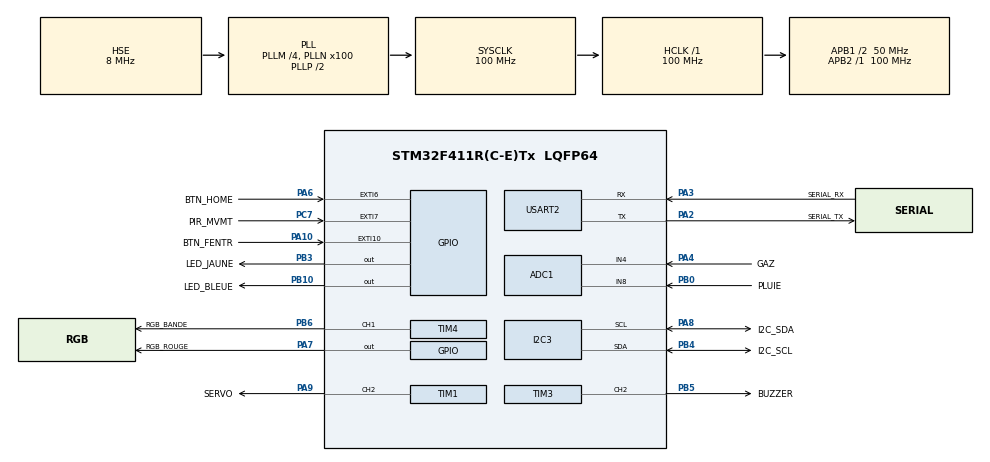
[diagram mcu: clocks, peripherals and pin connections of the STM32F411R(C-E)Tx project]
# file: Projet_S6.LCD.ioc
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ADC1.Channel-0\#ChannelRegularConversion=ADC_CHANNEL_4
ADC1.Channel-1\#ChannelRegularConversion=ADC_CHANNEL_8
ADC1.DMAContinuousRequests=ENABLE
ADC1.ExternalTrigConv=ADC_EXTERNALTRIGCONV_T2_TRGO
ADC1.NbrOfConversion=2
ADC1.NbrOfConversionFlag=1
ADC1.Rank-0\#ChannelRegularConversion=1
ADC1.Rank-1\#ChannelRegularConversion=2
ADC1.SamplingTime-0\#ChannelRegularConversion=ADC_SAMPLETIME_3CYCLES
ADC1.SamplingTime-1\#ChannelRegularConversion=ADC_SAMPLETIME_3CYCLES
ADC1.ScanConvMode=ENABLE
ADC1.master=1
Dma.ADC1.0.Direction=DMA_PERIPH_TO_MEMORY
Dma.ADC1.0.FIFOMode=DMA_FIFOMODE_DISABLE
Dma.ADC1.0.Instance=DMA2_Stream0
Dma.ADC1.0.MemDataAlignment=DMA_MDATAALIGN_HALFWORD
Dma.ADC1.0.MemInc=DMA_MINC_ENABLE
Dma.ADC1.0.Mode=DMA_CIRCULAR
Dma.ADC1.0.PeriphDataAlignment=DMA_PDATAALIGN_HALFWORD
Dma.ADC1.0.PeriphInc=DMA_PINC_DISABLE
Dma.ADC1.0.Priority=DMA_PRIORITY_LOW
Dma.Request0=ADC1
Dma.Request1=TIM4_CH1
Dma.TIM4_CH1.1.Direction=DMA_MEMORY_TO_PERIPH
Dma.TIM4_CH1.1.FIFOMode=DMA_FIFOMODE_DISABLE
Dma.TIM4_CH1.1.Instance=DMA1_Stream0
Dma.TIM4_CH1.1.MemDataAlignment=DMA_MDATAALIGN_WORD
Dma.TIM4_CH1.1.MemInc=DMA_MINC_ENABLE
Dma.TIM4_CH1.1.Mode=DMA_NORMAL
Dma.TIM4_CH1.1.PeriphDataAlignment=DMA_PDATAALIGN_WORD
Dma.TIM4_CH1.1.PeriphInc=DMA_PINC_DISABLE
Dma.TIM4_CH1.1.Priority=DMA_PRIORITY_LOW
Mcu.Family=STM32F4
Mcu.Name=STM32F411R(C-E)Tx
Mcu.Package=LQFP64
NVIC.ADC_IRQn=true\:0\:0\:false\:false\:true\:true\:true\:true
NVIC.DMA1_Stream0_IRQn=true\:0\:0\:false\:false\:true\:false\:true\:true
NVIC.DMA2_Stream0_IRQn=true\:0\:0\:false\:false\:true\:false\:true\:true
NVIC.EXTI15_10_IRQn=true\:0\:0\:false\:false\:true\:true\:true\:true
NVIC.EXTI9_5_IRQn=true\:0\:0\:false\:false\:true\:true\:true\:true
NVIC.PriorityGroup=NVIC_PRIORITYGROUP_4
NVIC.TIM2_IRQn=true\:0\:0\:false\:false\:true\:true\:true\:true
NVIC.TIM5_IRQn=true\:0\:0\:false\:false\:true\:true\:true\:true
PA10.GPIO_Label=BTN_FENTR
PA10.GPIO_ModeDefaultEXTI=GPIO_MODE_IT_FALLING
PA10.GPIO_PuPd=GPIO_PULLUP
PA10.Signal=GPXTI10
PA13.Mode=Serial_Wire
PA13.Signal=SYS_JTMS-SWDIO
PA14.Mode=Serial_Wire
PA14.Signal=SYS_JTCK-SWCLK
PA2.GPIO_Label=SERIAL_TX
PA2.Mode=Asynchronous
PA2.Signal=USART2_TX
PA3.GPIO_Label=SERIAL_RX
PA3.Mode=Asynchronous
PA3.Signal=USART2_RX
PA4.GPIO_Label=GAZ
PA4.Signal=ADCx_IN4
PA6.GPIO_Label=BTN_HOME
PA6.GPIO_ModeDefaultEXTI=GPIO_MODE_IT_FALLING
PA6.GPIO_PuPd=GPIO_PULLUP
PA6.Signal=GPXTI6
PA7.GPIO_Label=RGB_ROUGE
PA7.GPIO_PuPd=GPIO_NOPULL
PA7.Signal=GPIO_Output
PA8.GPIO_Label=I2C_SDA
PA8.Mode=I2C
PA8.Signal=I2C3_SCL
PA9.GPIO_Label=SERVO
PA9.Signal=S_TIM1_CH2
PB0.GPIO_Label=PLUIE
PB0.Signal=ADCx_IN8
PB10.GPIO_Label=LED_BLEUE
PB10.Signal=GPIO_Output
PB3.GPIO_Label=LED_JAUNE
PB3.GPIO_PuPd=GPIO_NOPULL
PB3.Signal=GPIO_Output
PB4.GPIO_Label=I2C_SCL
PB4.Mode=I2C
PB4.Signal=I2C3_SDA
PB5.GPIO_Label=BUZZER
PB5.Signal=S_TIM3_CH2
PB6.GPIO_Label=RGB_BANDE
PB6.Signal=S_TIM4_CH1
PC7.GPIO_Label=PIR_MVMT
PC7.GPIO_ModeDefaultEXTI=GPIO_MODE_IT_RISING
PC7.GPIO_PuPd=GPIO_PULLDOWN
PC7.Signal=GPXTI7
PH0\ -\ OSC_IN.Mode=HSE-External-Oscillator
PH0\ -\ OSC_IN.Signal=RCC_OSC_IN
PH1\ -\ OSC_OUT.Mode=HSE-External-Oscillator
PH1\ -\ OSC_OUT.Signal=RCC_OSC_OUT
ProjectManager.HeapSize=0x200
ProjectManager.StackSize=0x400
ProjectManager.TargetToolchain=STM32CubeIDE
RCC.48MHZClocksFreq_Value=50000000
RCC.AHBFreq_Value=100000000
RCC.APB1CLKDivider=RCC_HCLK_DIV2
RCC.APB1Freq_Value=50000000
RCC.APB1TimFreq_Value=100000000
RCC.APB2Freq_Value=100000000
RCC.APB2TimFreq_Value=100000000
RCC.CortexFreq_Value=100000000
RCC.HCLKFreq_Value=100000000
RCC.HSE_VALUE=8000000
RCC.HSI_VALUE=16000000
RCC.LSE_VALUE=32768
RCC.PLLM=4
RCC.PLLN=100
RCC.PLLSourceVirtual=RCC_PLLSOURCE_HSE
RCC.SYSCLKFreq_VALUE=100000000
RCC.SYSCLKSource=RCC_SYSCLKSOURCE_PLLCLK
RCC.VCOOutputFreq_Value=200000000
SH.ADCx_IN4.0=ADC1_IN4,IN4
SH.ADCx_IN8.0=ADC1_IN8,IN8
SH.S_TIM1_CH2.0=TIM1_CH2,PWM Generation2 CH2
SH.S_TIM3_CH2.0=TIM3_CH2,PWM Generation2 CH2
SH.S_TIM4_CH1.0=TIM4_CH1,PWM Generation1 CH1
TIM1.Channel-PWM\ Generation2\ CH2=TIM_CHANNEL_2
TIM1.Period=50000-1
TIM1.Prescaler=40-1
TIM1.Pulse-PWM\ Generation2\ CH2=3750
TIM2.Period=20000-1
TIM2.Prescaler=10000-1
TIM2.TIM_MasterOutputTrigger=TIM_TRGO_UPDATE
TIM3.Channel-PWM\ Generation2\ CH2=TIM_CHANNEL_2
TIM3.OCMode_PWM-PWM\ Generation2\ CH2=TIM_OCMODE_PWM1
TIM3.Period=56818-1
TIM3.Prescaler=4-1
TIM3.Pulse-PWM\ Generation2\ CH2=28409
TIM4.Channel-PWM\ Generation1\ CH1=TIM_CHANNEL_1
TIM4.Period=125-1
TIM5.Period=500-1
TIM5.Prescaler=10000-1
USART2.VirtualMode=VM_ASYNC
VP_TIM1_VS_ClockSourceINT.Mode=Internal
VP_TIM2_VS_ClockSourceINT.Mode=Internal
VP_TIM3_VS_ClockSourceINT.Mode=Internal
VP_TIM4_VS_ClockSourceINT.Mode=Internal
VP_TIM5_VS_ClockSourceINT.Mode=Internal
board=custom

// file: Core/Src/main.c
/* USER CODE BEGIN Header */
/**
  ******************************************************************************
  * @file           : main.c
  * @brief          : Main program body
  ******************************************************************************
  * @attention
  *
  * Copyright (c) 2026 STMicroelectronics.
  * All rights reserved.
  *
  * This software is licensed under terms that can be found in the LICENSE file
  * in the root directory of this software component.
  * If no LICENSE file comes with this software, it is provided AS-IS.
  *
  ******************************************************************************
  */
/* USER CODE END Header */
#include "main.h"
#include "adc.h"
#include "dma.h"
#include "i2c.h"
#include "tim.h"
#include "usart.h"
#include "gpio.h"

/* USER CODE BEGIN Includes */
#include <stdio.h>
#include "stdbool.h"
#include "tmp102.h"
#include "i2c-lcd.h"
#include "bande-led.h"
/* USER CODE END Includes */

/* USER CODE BEGIN PTD */

/**
 * @brief Structure d'encapsulation pour la gestion unifiée d'une LED matérielle.
 *        // cf rapport : 4.3. Structure pour les LEDs
 */
typedef struct {
    GPIO_TypeDef *port;   /**< Pointeur vers le port GPIO (ex: GPIOA, GPIOB) */
    uint16_t pin;         /**< Numéro de broche GPIO (ex: GPIO_PIN_10) */
    bool state;           /**< État logique souhaité (true: allumée, false: éteinte) */
} LED_t;

/**
 * @brief Modes de fonctionnement et de surveillance globale de la maison.
 *        // cf rapport : 6.3. Machine à états HOME / AWAY
 */
typedef enum {
  HOME,                   /**< Mode Présent : alarme intrusion désactivée, contrôle manuel fenêtre actif */
  AWAY                    /**< Mode Absent  : surveillance intrusion armée, fenêtre fermée et verrouillée */
} maison_mode_t;

/**
 * @brief États discrets de la fenêtre motorisée par servomoteur.
 *        // cf rapport : 9.2. Gestion de la fenêtre (États de la fenêtre)
 */
typedef enum {
  INIT,                   /**< État initial au démarrage avant positionnement */
  FERMEE,                 /**< Fenêtre fermée (servomoteur à 0°) */
  OUVERTE                 /**< Fenêtre ouverte (servomoteur à 120°) */
} fenetre_t;

/**
 * @brief Plages de confort thermique pour la régulation automatique de la fenêtre.
 *        // cf rapport : 10.11. Seuils et états de température
 */
typedef enum {
  FROID,                  /**< Température <= 24°C : force la fermeture de la fenêtre */
  CHAUD,                  /**< Température >= 26°C : déclenche l'aération de la fenêtre */
  TEMPEREE                /**< Zone de confort (24°C - 26°C) formant une hystérésis naturelle */
} temperature_t;

/* USER CODE END PTD */

/* USER CODE BEGIN PD */

// ==============================================================================
// Brochage matériel Arduino Header (NUCLEO-F411RE)
// cf rapport : 3.1. Branchement des composants (Tableau de brochage final)
// ==============================================================================
//  BTN_FENTR | D2  | PA_10 | EXTI 10 - Falling Edge | PULLUP   | 3V3
//  LED_JAUNE | D3  | PB_3  | GPIO OUTPUT            | NO       | 3V3 (Shield)
//  BUZZER    | D4  | PB_5  | TIMER 3 - CHANNEL 2    | NO       | 3V3 (Passif PWM)
//  I2C_SDA   | D5  | PB_4  | I2C3 - SDA             | NO       | LCD + TMP102 (5V pullup)
//  LED_BLEUE | D6  | PB_10 | GPIO OUTPUT            | NO       | 3V3 (Cycle capteurs)
//  I2C_SCL   | D7  | PA_8  | I2C3 - SCL             | NO       | LCD + TMP102 (5V pullup)
//  SERVO     | D8  | PA_9  | TIMER 1 - CHANNEL 2    | NO       | 5V (PWM 50 Hz)
//  PIR_MVMT  | D9  | PC_7  | EXTI 7 - Rising Edge   | PULLDOWN | 3V3 (Détecteur mouvement)
//  RGB_BANDE | D10 | PB_6  | TIMER 4 - CHANNEL 1    | NO       | 5V (WS2812B PWM + DMA)
//  RGB_ROUGE | D11 | PA_7  | GPIO OUTPUT            | NO       | 3V3 (Alarme gaz Shield)
//  BTN_HOME  | D12 | PA_6  | EXTI 6 - Falling Edge  | PULLUP   | 3V3 (Bouton mode)
//  GAZ       | A2  | PA_4  | ADC 1 - CHANNEL 4      | NO       | 5V (Capteur MQ-2)
//  PLUIE     | A3  | PB_0  | ADC 1 - CHANNEL 8      | NO       | 5V (Capteur résistif)

// ==============================================================================
// Abstraction matérielle (évite le hardcoding des handles HAL)
// cf rapport : 4.2. Define matériels
// ==============================================================================
#define ADC_CAPTEURS    (&hadc1)    /**< Instance ADC1 pour mesures gaz et pluie */
#define BUS_I2C         (&hi2c3)    /**< Bus I2C3 partagé (TMP102 + Afficheur LCD) */
#define TIMER_CAPTEURS  (&htim2)    /**< TIM2 : base temporelle échantillonnage (2 s) */
#define TIMER_DEBOUNCE  (&htim5)    /**< TIM5 : base temporelle anti-rebond & alarmes (50 ms) */
#define TIMER_SERVO     (&htim1)    /**< TIM1 : génération PWM 50 Hz pour servomoteur */
#define CANAL_SERVO     TIM_CHANNEL_2 /**< Canal 2 de TIM1 (broche PA9 / D8) */
#define TIMER_BUZZER    (&htim3)    /**< TIM3 : génération PWM audio pour buzzer passif */
#define CANAL_BUZZER    TIM_CHANNEL_2 /**< Canal 2 de TIM3 (broche PB5 / D4) */
#define TIMER_BANDE_LED (&htim4)    /**< TIM4 : génération PWM 800 kHz DMA WS2812B */
#define CANAL_BANDE_LED TIM_CHANNEL_1 /**< Canal 1 de TIM4 (broche PB6 / D10) */

// ==============================================================================
// Seuils de décision et configuration ADC
// cf rapport : 7.3 (Gaz), 9.4 (Pluie), 10.11 (Température)
// ==============================================================================
#define SEUIL_GAZ         2500      /**< Seuil détection gaz MQ-2 (0-4095) // cf rapport : 7.3 */
#define SEUIL_PLUIE       4000      /**< Seuil détection eau/pluie (0-4095) // cf rapport : 9.4 */
#define SEUIL_CHALEUR     26        /**< Seuil haut de température en °C // cf rapport : 10.11 */
#define SEUIL_FROID       24        /**< Seuil bas de température en °C // cf rapport : 10.11 */
#define NBR_CAPTEURS_ADC  2         /**< Nombre de canaux convertis en séquence Scan */
#define GAZ_ADC_RANK      0         /**< Index Rank 1 dans buffer DMA : Capteur MQ-2 */
#define PLUIE_ADC_RANK    1         /**< Index Rank 2 dans buffer DMA : Capteur pluie */

// ==============================================================================
// Fréquences d'échantillonnage et bases temporelles
// cf rapport : 5.1 (Timer 2), 6.2 (Timer 5)
// ==============================================================================
#define FREQ_CYCLE_CAPTEURS   0.5   /**< Fréquence d'échantillonnage (0.5 Hz => Période = 2 s) */
#define FREQ_CYCLE_DEBOUNCE   20    /**< Fréquence de scrutation anti-rebond (20 Hz => 50 ms) */

// ==============================================================================
// Paramètres PWM Servomoteur (Timer 1)
// cf rapport : 9.1. Commande du servomoteur
// ==============================================================================
#define FREQ_TIMER_SERVO  2500000   /**< Fréquence de comptage TIM1 (2.5 MHz => 0.4 µs/tic) */
#define FREQ_CYCLE_SERVO  50        /**< Fréquence PWM servomoteur standard (50 Hz => 20 ms) */
#define SERVO_0_DEG_MS    0.5       /**< Largeur d'impulsion à 0° (0.5 ms => 1250 tics) */
#define SERVO_180_DEG_MS  2.5       /**< Largeur d'impulsion à 180° (2.5 ms => 6250 tics) */

// ==============================================================================
// Paramètres Audio et Alarmes (Timer 3 & Timer 5)
// cf rapport : 13. Bonus — Gestion globale des alarmes
// ==============================================================================
#define FREQ_TIMER_BUZZER             25000000 /**< Fréquence d'horloge TIM3 (25 MHz) */
#define FREQ_TIMER_BANDE_LED          100000000/**< Fréquence d'horloge TIM4 (100 MHz) */
#define FREQ_CYCLE_ALARME             FREQ_CYCLE_DEBOUNCE /**< Base de comptage alarme (20 Hz) */
#define FREQ_BLINK_ALARME_GAZ         10       /**< Fréquence clignotement alarme gaz (10 Hz) */
#define FREQ_BLINK_ALARME_INTRUSION   2        /**< Fréquence clignotement alarme intrusion (2 Hz) */
#define FREQ_BUZZER_ALARME_GAZ        440      /**< Fréquence note alarme gaz (La4 / 440 Hz) */
#define FREQ_BUZZER_ALARME_INTRUSION  384      /**< Fréquence note alarme intrusion (384 Hz) */

// ==============================================================================
// Tableau de bord NeoPixel WS2812B (Timer 4 + DMA)
// cf rapport : 12. Bonus — Bibliothèque Bande LED RGB (WS2812B)
// ==============================================================================
#define NB_LEDS_BANDE_RGB 4         /**< Nombre total de LEDs sur le bandeau */
#define LED_BAS_DROITE    0         /**< Index LED 0 : Alarme intrusion (orange) */
#define LED_HAUT_DROITE   1         /**< Index LED 1 : Alarme gaz (rouge) */
#define LED_HAUT_GAUCHE   2         /**< Index LED 2 : Témoin cycle capteurs (violet) */
#define LED_BAS_GAUCHE    3         /**< Index LED 3 : Indicateur température (Bleu/Vert/Orange) */
#define LUMINOSITE_BASE   10        /**< Luminosité réduite (0-255) anti-éblouissement */

// --- Nuancier hexadécimal pour le tableau de bord ---
#define COULEUR_CAPTEURS         BL_HEXA_VIOLET /**< Violet : pulsation cycle capteurs */
#define COULEUR_ALARME_GAZ       BL_HEXA_ROUGE  /**< Rouge : alerte fuite de gaz */
#define COULEUR_ALARME_INTRUSION BL_HEXA_ORANGE /**< Orange : alerte détection intrusion */
#define COULEUR_TEMP_FROID       BL_HEXA_BLEU   /**< Bleu : ambiance froide (< 24°C) */
#define COULEUR_TEMP_TEMPERE     BL_HEXA_VERT   /**< Vert : confort tempéré (24°C - 26°C) */
#define COULEUR_TEMP_CHAUD       BL_HEXA_ORANGE /**< Orange : ambiance chaude (> 26°C) */
#define COULEUR_ETEINTE          BL_HEXA_NOIR   /**< Noir : LED éteinte */

// ==============================================================================
// Butées angulaires de la fenêtre
// cf rapport : 9.2. Gestion de la fenêtre
// ==============================================================================
#define ANGLE_SERVO_OUVERT  120     /**< Butée mécanique maximale d'ouverture (120°) */
#define ANGLE_SERVO_FERME   0       /**< Position de fermeture étanche (0°) */

/* USER CODE END PD */

/* USER CODE BEGIN PV */
// ==============================================================================
// Instances et états des voyants LED physiques
// cf rapport : 4.3. Structure pour les LEDs
// ==============================================================================
LED_t           led_capteurs                = {LED_BLEUE_GPIO_Port, LED_BLEUE_Pin, false};
LED_t           led_alarme_gaz              = {RGB_ROUGE_GPIO_Port, RGB_ROUGE_Pin, false};
LED_t           led_alarme_intrusion        = {LED_JAUNE_GPIO_Port, LED_JAUNE_Pin, false};
bool            buzzer                      = false; /**< État logique ON/OFF du buzzer passif */
fenetre_t       fenetre                     = OUVERTE; /**< État courant de la fenêtre */

// ==============================================================================
// Signaux de contrôle et drapeaux anti-rebond (partagés avec EXTI Callback)
// cf rapport : 6.2. Gestion de l'anti-rebond & 9.3. Bouton fenêtre et anti-rebond
// ==============================================================================
volatile bool   debouncing_bouton_home      = false; /**< Verrou anti-rebond en cours (Bouton HOME) */
volatile bool   debouncing_bouton_fenetre   = false; /**< Verrou anti-rebond en cours (Bouton Fenêtre) */
bool            bouton_home_appuye          = false; /**< Impulsion validée d'appui sur bouton HOME */
bool            bouton_fenetre_appuye       = false; /**< Impulsion validée d'appui sur bouton Fenêtre */

// ==============================================================================
// Drapeaux d'interruptions périodiques et DMA (partagés avec ISR)
// cf rapport : 3.3. Boucle principale et gestion des interruptions
// ==============================================================================
volatile bool   timer_debounce_flag         = false; /**< Tick périodique TIM5 (20 Hz / 50 ms) */
volatile bool   timer_capteurs_flag         = false; /**< Tick périodique TIM2 (0.5 Hz / 2 s) */
volatile bool   fin_mesure_ADC_flag         = false; /**< Notification fin de transfert circulaire DMA ADC */
int             blink_counter_alarm         = 0;     /**< Compteur de tics pour modulation des alarmes */

// ==============================================================================
// Variables d'état métier et sécurité
// cf rapport : 6.3 (Modes), 6.4 (PIR), 7.4 (Gaz), 9.4 (Pluie), 10.11 (Température)
// ==============================================================================
maison_mode_t   mode                        = HOME;  /**< Mode courant de la maison (HOME / AWAY) */
volatile bool   presence_detectee           = false; /**< Détection brute PIR (EXTI 7) */
bool            pluie_detectee              = false; /**< Alerte pluie active */
bool            alarme_intrusion            = false; /**< Alarme intrusion armée et sonnante */
bool            alarme_gaz                  = false; /**< Alarme fuite de gaz active */

temperature_t   temperature                 = TEMPEREE; /**< Tranche de confort thermique */
float           temperature_valeur          = 0.0;      /**< Dernière température mesurée en °C */
int             pluie_valeur                = 0;        /**< Valeur brute ADC du capteur de pluie */
int             gaz_valeur                  = 0;        /**< Valeur brute ADC du capteur MQ-2 */

// ==============================================================================
// Buffers matériels et descripteurs de périphériques
// cf rapport : 9.4 (DMA ADC), 10.4 (TMP102), 12.2 (Bande LED)
// ==============================================================================
volatile uint16_t adc_valeurs[NBR_CAPTEURS_ADC]; /**< Buffer de destination du DMA circulaire ADC1 */
TMP102_t        thermometre;                     /**< Contexte et configuration du capteur TMP102 */
BandeLED_t      bande_led;                       /**< Descripteur de la bande de 4 LEDs WS2812B */

/* USER CODE END PV */

void SystemClock_Config(void);
/* USER CODE BEGIN PFP */
void afficher_capteurs_ecran(void);
void afficher_mode_ecran(void);
void initialiser_ecran(void);
void initialiser_thermometre(void);
void initialiser_bande_led(void);
void update_bande_led(void);
void angle_servo(int angle);
void commande_fenetre(void);
void commande_led(void);
void commande_buzzer(void);
void frequence_buzzer(int frequence);
void evaluer_gaz(void);
void evaluer_pluie(void);
void evaluer_temperature(void);
void debounce_filter(void);
void update_cycle_alarmes_leds(void);
void update_cycle_alarmes_buzzer(void);
void update_cycle_alarmes(void);
/* USER CODE END PFP */

/* USER CODE BEGIN 0 */

/**
 * @brief  Met à jour l'affichage des valeurs des capteurs sur l'écran LCD 16x2.
 *         Formate et affiche la température (°C) sur la seconde moitié de la première ligne,
 *         et les valeurs brutes ADC de pluie (Hu) et de gaz (Ga) sur la deuxième ligne.
 *         // cf rapport : 11.3. Affichage des données en 16x2 (Valeurs capteurs)
 * @param  None
 * @return None
 */
void afficher_capteurs_ecran()
{
    char ligne1[8+1];
    char ligne2[16+1];

    // Ligne 1 (2nde moitié) : formatage de la température sur 5 caractères avec le symbole degré
    // Le code hexadécimal \xDF correspond au symbole '°' dans la table CGROM du contrôleur LCD
    // cf rapport : 11.3. Affichage des données en 16x2 (Caractère degré personnalisé)
    snprintf(ligne1, sizeof(ligne1), " %5s\xDF" "C",
             TMP102_temperature_to_string(temperature_valeur, 2));

    // Ligne 2 : formatage à largeur fixe (%4d) pour écraser entièrement l'ancienne mesure
    // et éviter les reliquats visuels d'affichage sur les capteurs de pluie et de gaz
    // cf rapport : 11.3. Affichage des données en 16x2 (Formatage à largeur fixe)
    snprintf(ligne2, sizeof(ligne2), "Hu %4d  Ga %4d",
             pluie_valeur,
             gaz_valeur);

    // Positionnement du curseur en colonne 8 de la ligne 0 pour préserver le mode HOME/AWAY (colonnes 0-7)
    lcd_put_cur(0, 8);
    lcd_send_string(ligne1);

    // Positionnement du curseur au début de la ligne 1 pour l'affichage complet des mesures analogiques
    lcd_put_cur(1, 0);
    lcd_send_string(ligne2);
}

/**
 * @brief  Affiche le mode de surveillance actif de la maison (HOME ou AWAY) sur le LCD.
 *         Écrit sur les 4 premières colonnes de la première ligne de l'afficheur.
 *         // cf rapport : 11.3. Affichage des données en 16x2 (HOME / AWAY)
 * @param  None
 * @return None
 */
void afficher_mode_ecran()
{
  char ligne_mode[8];
  // Formatage à largeur fixe (%4s) pour occuper exactement 4 caractères (HOME ou AWAY)
  // sans déborder sur l'affichage de la température situé en colonne 8
  // cf rapport : 11.3. Affichage des données en 16x2 (HOME / AWAY)
  snprintf(ligne_mode, sizeof(ligne_mode), "%4s",
           (mode == HOME) ? "HOME" : "AWAY");

  // Positionnement au début de la ligne 0
  lcd_put_cur(0, 0);
  lcd_send_string(ligne_mode);
}

/**
 * @brief  Initialise le module d'affichage LCD 16x2 sur le bus I2C.
 *         Configure le contrôleur LCD HD44780 (via extenseur PCF8574), affiche le mode
 *         initial et un message d'accueil temporaire sur la ligne 2.
 *         // cf rapport : 11.2. Intégration de la bibliothèque LCD I²C & 11.3. Initialisation
 * @param  None
 * @return None
 */
void initialiser_ecran()
{
    // Initialisation matérielle du contrôleur LCD avec le bus I2C3
    // cf rapport : 11.2. Modification de l'initialisation
    lcd_init(BUS_I2C);

    // Affichage initial du mode de la maison (HOME par défaut)
    afficher_mode_ecran();

    // Message de bienvenue temporaire (écrasé au premier cycle capteurs après 2 s)
    // cf rapport : 11.3. Affichage des données en 16x2 (Message d'accueil)
    lcd_put_cur(1, 0);
    lcd_send_string("Hello Abir (^w^)");
}

/**
 * @brief  Initialise et configure le capteur de température I2C TMP102.
 *         Charge la configuration par défaut puis active le mode Shutdown basse consommation
 *         pour opérer en mode One-Shot cadencé par le timer d'échantillonnage.
 *         // cf rapport : 10.6. Initialisation, 10.9. Mesure One-Shot, 10.10. Utilisation de la bibliothèque
 * @param  None
 * @return None
 */
void initialiser_thermometre()
{
    // Chargement des valeurs nominales par défaut dans la structure
    // cf rapport : 10.6. Valeurs par défaut
    TMP102_init_default(&thermometre);

    // Configuration des paramètres matériels et applicatifs
    thermometre.busI2C                = BUS_I2C;             // Bus I2C3
    thermometre.address               = TMP102_I2C_ADDR_GND; // Adresse 0x48 (ADDR0 relié à GND)
    thermometre.config.Mode           = TMP102_MODE_SHUTDOWN;// Mode veille (<0.15 µA) avec One-Shot
    thermometre.config.ExtendedMode   = TMP102_EXTENDED_OFF; // Résolution standard 12 bits

    // Transmission de la configuration vers les registres du capteur physique via I2C
    // cf rapport : 10.5. Mise à jour des registres du capteur
    if (TMP102_apply_registers(&thermometre)) {
        printf("Capteur TMP102 configuré\r\n");
    } else {
        printf("Erreur d'initialisation du capteur TMP102\r\n");
    }
}

/**
 * @brief  Initialise le pilote du ruban de 4 LEDs adressables RGB (WS2812B NeoPixel).
 *         Configure le timer PWM et DMA associé (TIM4 CH1, 800 kHz), règle la luminosité de base
 *         et précharge les teintes de repos pour le tableau de bord.
 *         // cf rapport : 12.2. Implémentation PWM + DMA (TIM4) & 12.3. Tableau de bord LED
 * @param  None
 * @return None
 */
void initialiser_bande_led()
{
  // Initialisation du descripteur : TIM4 CH1 cadencé à 100 MHz, protocole one-wire 800 kHz
  // cf rapport : 12.2. Implémentation PWM + DMA (TIM4)
  BandeLED_Init(&bande_led, TIMER_BANDE_LED, CANAL_BANDE_LED, FREQ_TIMER_BANDE_LED, NB_LEDS_BANDE_RGB);

  // Luminosité réduite (10/255) sur chaque LED pour limiter le courant et éviter l'éblouissement
  // cf rapport : 12.3. Tableau de bord LED
  for (int i = 0; i < NB_LEDS_BANDE_RGB; i++) {
      BandeLED_set_led_luminosity(&bande_led, i, LUMINOSITE_BASE);
  }

  // Affectation des couleurs fonctionnelles fixes en mémoire
  // LED 2 (Haut Gauche) : Témoin capteurs (Violet)
  // LED 1 (Haut Droite) : Alarme gaz (Rouge)
  // LED 0 (Bas Droite)  : Alarme intrusion (Orange)
  BandeLED_set_led_hexa(&bande_led, LED_HAUT_GAUCHE, COULEUR_CAPTEURS);
  BandeLED_set_led_hexa(&bande_led, LED_HAUT_DROITE, COULEUR_ALARME_GAZ);
  BandeLED_set_led_hexa(&bande_led, LED_BAS_DROITE, COULEUR_ALARME_INTRUSION);

  // Extinction initiale de toutes les LEDs pour un démarrage propre
  BandeLED_set_led_state(&bande_led, LED_HAUT_GAUCHE, false);
  BandeLED_set_led_state(&bande_led, LED_HAUT_DROITE, false);
  BandeLED_set_led_state(&bande_led, LED_BAS_DROITE, false);
  BandeLED_set_led_state(&bande_led, LED_BAS_GAUCHE, false);

  // Émission de la première trame via DMA pour actualiser le ruban physique
  BandeLED_show(&bande_led);
}

/**
 * @brief  Met à jour l'affichage dynamique du tableau de bord sur les 4 LEDs RGB WS2812B.
 *         Reflète l'état des cycles capteurs, des alarmes gaz et intrusion, ainsi que
 *         la couleur représentative de la température, puis déclenche le transfert DMA.
 *         // cf rapport : 12.3. Tableau de bord LED
 * @param  None
 * @return None
 */
void update_bande_led()
{
    // LED Haut Gauche : pulsation de cycle capteurs, synchronisée sur la LED bleue physique
    BandeLED_set_led_state(&bande_led, LED_HAUT_GAUCHE, led_capteurs.state);

    // LED Haut Droite : alerte fuite de gaz, synchronisée sur la LED rouge d'alarme
    BandeLED_set_led_state(&bande_led, LED_HAUT_DROITE, led_alarme_gaz.state);

    // LED Bas Droite : alerte intrusion, synchronisée sur la LED jaune d'alarme
    BandeLED_set_led_state(&bande_led, LED_BAS_DROITE, led_alarme_intrusion.state);

    // LED Bas Gauche : indicateur chromatique de la tranche de température
    // Bleu = Froid (<= 24°C), Vert = Tempéré (24-26°C), Orange = Chaud (>= 26°C)
    // cf rapport : 12.3. Tableau de bord LED & 10.11. Seuils et états de température
    switch (temperature) {
        case FROID:
            BandeLED_set_led_state(&bande_led, LED_BAS_GAUCHE, true);
            BandeLED_set_led_hexa(&bande_led, LED_BAS_GAUCHE, COULEUR_TEMP_FROID);
            break;
        case TEMPEREE:
            BandeLED_set_led_state(&bande_led, LED_BAS_GAUCHE, true);
            BandeLED_set_led_hexa(&bande_led, LED_BAS_GAUCHE, COULEUR_TEMP_TEMPERE);
            break;
        case CHAUD:
            BandeLED_set_led_state(&bande_led, LED_BAS_GAUCHE, true);
            BandeLED_set_led_hexa(&bande_led, LED_BAS_GAUCHE, COULEUR_TEMP_CHAUD);
            break;
        default:
            BandeLED_set_led_state(&bande_led, LED_BAS_GAUCHE, false);
            break;
    }

    // Transfert non bloquant de la trame binaire GRB vers le périphérique TIM4 via DMA
    // cf rapport : 12.2. Implémentation PWM + DMA (TIM4)
    BandeLED_show(&bande_led);
}

/**
 * @brief  Positionne le servomoteur de la fenêtre à l'angle angulaire spécifié (0° à 180°).
 *         Convertit l'angle en durée d'impulsion PWM (0.5 ms à 2.5 ms), calcule le nombre de
 *         tics d'horloge du Timer 1 et met à jour le registre de comparaison CCR.
 *         // cf rapport : 9.1. Commande du servomoteur (Protocole PWM, Timer 1 et fonction angle_servo)
 * @param  angle Angle cible en degrés compris entre 0 et 180 (ex: 0° fermé, 120° ouvert).
 * @return None
 */
void angle_servo(int angle)
{
  // Calcul mathématique de la largeur d'impulsion :
  // Impulsion (s) = [ (angle / 180.0) * (T_180 - T_0) + T_0 ] / 1000.0
  // Conversion en nombre de tics d'horloge TIM1 (cadencé à 2.5 MHz, soit 0.4 µs/tic) :
  // pulse_tics = Impulsion (s) * FREQ_TIMER_SERVO
  // À 0°   : 0.5 ms  -> 0.5 ms / 0.4 µs = 1250 tics
  // À 180° : 2.5 ms  -> 2.5 ms / 0.4 µs = 6250 tics
  // Résolution angulaire : 5000 tics / 180° ≈ 27.8 tics/degré (soit ~0.036° par tic)
  // cf rapport : 9.1. Calcul de la résolution angulaire
	int pulse_tics =
  (
    (
      (angle / 180.0)
      *
      (SERVO_180_DEG_MS - SERVO_0_DEG_MS) / 1000.0
    )
    +
    (SERVO_0_DEG_MS / 1000.0)
  )
  * FREQ_TIMER_SERVO;

  // Mise à jour du registre de comparaison CCR (TIM1 Channel 2, broche PA9)
  // cf rapport : 9.1. Fonction angle_servo()
	__HAL_TIM_SET_COMPARE(TIMER_SERVO, CANAL_SERVO, pulse_tics);
}

/**
 * @brief  Gère l'actionnement mécanique de la fenêtre via le servomoteur.
 *         N'applique la consigne d'angle que lors d'un changement d'état effectif
 *         (OUVERTE -> 120°, FERMEE -> 0°) pour éviter les écritures redondantes.
 *         // cf rapport : 9.2. Gestion de la fenêtre (commande_fenetre - envoi sur changement d'état)
 * @param  None
 * @return None
 */
void commande_fenetre()
{
  // Variable statique pour mémoriser l'état précédent entre deux itérations
  // Initialisée à INIT pour forcer le positionnement physique dès le premier appel
  // cf rapport : 9.2. Fonction commande_fenetre()
  static fenetre_t etat_precedent = INIT;

  if (fenetre != etat_precedent) {
    switch(fenetre) {
      case OUVERTE :
        // Angle d'ouverture fixé empiriquement à 120° (au-delà, risque de casse mécanique contre le mur)
        // cf rapport : 9.2. États de la fenêtre
        angle_servo(ANGLE_SERVO_OUVERT);
        break;
      case FERMEE :
        // Angle de fermeture étanche à 0° (position initiale lors du vissage du servomoteur)
        angle_servo(ANGLE_SERVO_FERME);
        break;
      case INIT :
        break;
    }
    // Mémorisation du nouvel état validé
    etat_precedent = fenetre;
  }
}

/**
 * @brief  Applique l'état logique mémorisé des structures LED_t aux sorties GPIO physiques.
 *         Découple la logique applicative (mise à jour de flags .state) de la commande matérielle HAL.
 *         // cf rapport : 4.3. Structure pour les LEDs
 * @param  None
 * @return None
 */
void commande_led()
{
  // LED témoin de cycle capteurs (LED bleue, PB10)
  if (led_capteurs.state) {
    HAL_GPIO_WritePin(led_capteurs.port, led_capteurs.pin, GPIO_PIN_SET);
  } else {
    HAL_GPIO_WritePin(led_capteurs.port, led_capteurs.pin, GPIO_PIN_RESET);
  }

  // LED témoin d'alarme gaz (LED rouge du shield, PA7)
  if (led_alarme_gaz.state) {
    HAL_GPIO_WritePin(led_alarme_gaz.port, led_alarme_gaz.pin, GPIO_PIN_SET);
  } else {
    HAL_GPIO_WritePin(led_alarme_gaz.port, led_alarme_gaz.pin, GPIO_PIN_RESET);
  }

  // LED témoin d'alarme intrusion (LED jaune du shield, PB3)
  if (led_alarme_intrusion.state) {
    HAL_GPIO_WritePin(led_alarme_intrusion.port, led_alarme_intrusion.pin, GPIO_PIN_SET);
  } else {
    HAL_GPIO_WritePin(led_alarme_intrusion.port, led_alarme_intrusion.pin, GPIO_PIN_RESET);
  }
}

/**
 * @brief  Pilote l'activation ou l'extinction du signal PWM alimentant le buzzer passif.
 *         Démarre ou arrête la génération PWM sur le Canal 2 du Timer 3 selon le drapeau 'buzzer'.
 *         // cf rapport : 13.2. Gestion du buzzer avec fréquences distinctes
 * @param  None
 * @return None
 */
void commande_buzzer()
{
	if (buzzer) {
    // Démarrage de la génération PWM matérielle (TIM3 Channel 2, broche PB5)
	  HAL_TIM_PWM_Start(TIMER_BUZZER, CANAL_BUZZER);
	} else {
    // Arrêt complet du signal pour couper l'émission acoustique
	  HAL_TIM_PWM_Stop(TIMER_BUZZER, CANAL_BUZZER);
	}
}

/**
 * @brief  Configure dynamiquement la fréquence sonore émise par le buzzer passif.
 *         Calcule et programme en temps réel la période de comptage (registre ARR)
 *         et la durée à l'état haut (registre CCR) pour obtenir un rapport cyclique de 50%.
 *         // cf rapport : 13.2. Configuration du Timer PWM et fréquences distinctes
 * @param  frequence Fréquence acoustique cible en Hertz (ex: 440 Hz pour gaz, 384 Hz pour intrusion).
 * @return None
 */
void frequence_buzzer(int frequence)
{
  // Calcul du nombre de tics pour la période (registre ARR) :
  // Horloge du Timer 3 cadencée à 25 MHz (PSC = 4 - 1 depuis horloge source 100 MHz)
  // ARR = (FREQ_TIMER_BUZZER / frequence) - 1
  // Exemple Gaz (440 Hz) : 25 000 000 / 440 ≈ 56818 tics (valeur <= 65535, pas de saturation 16 bits)
  // Exemple Intrusion (384 Hz) : 25 000 000 / 384 ≈ 65104 tics
  // cf rapport : 13.2. Configuration du Timer PWM
	int periode_tics = (double)FREQ_TIMER_BUZZER / frequence;

  // Calcul du temps haut pour un rapport cyclique de 50% (onde carrée acoustique optimale) :
  // pulse_tics = periode_tics / 2
  // Gaz : CCR = 56818 / 2 = 28409 tics
  // Intrusion : CCR = 65104 / 2 = 32552 tics
	int pulse_tics   = periode_tics / 2;

  // Rechargement immédiat des registres matériels du Timer 3
	__HAL_TIM_SET_AUTORELOAD(TIMER_BUZZER, periode_tics);
	__HAL_TIM_SET_COMPARE(TIMER_BUZZER, CANAL_BUZZER, pulse_tics);
}

/**
 * @brief  Évalue la concentration de gaz mesurée par le capteur analogique MQ-2.
 *         Lit la valeur convertie dans le buffer circulaire DMA (Canal ADC 4, Rank 1),
 *         compare la mesure au seuil critique (SEUIL_GAZ) pour armer l'alarme fuite de gaz,
 *         et consigne la valeur sur la liaison série USART2.
 *         // cf rapport : 7.3. Tests du capteur et seuil, 7.4. Alarme gaz, 9.4. Détection de pluie avec ADC DMA multi-canaux
 * @param  None
 * @return None
 */
void evaluer_gaz()
{
  // Lecture de la conversion ADC Rank 1 directement en mémoire via le buffer circulaire DMA
  // Résolution 12 bits (0 - 4095) sur plage 0 - 3.3V (VREF+ connecté à VDDA = 3V3 sur Nucleo)
  // En air pur : ~500-800 après préchauffage ; En présence de gaz/fumée : > 3000
  // cf rapport : 7.3. Seuil de détection & 9.4. Lecture et évaluation des capteurs
  gaz_valeur = adc_valeurs[GAZ_ADC_RANK];

  // Seuil de détection fixé à 2500 comme compromis sensibilité / réjection des faux positifs
  if (gaz_valeur >= SEUIL_GAZ) {
    printf("Gaz detecte !\r\n");
    alarme_gaz = true; // Déclenchement de l'alarme (prioritaire et indépendante du mode HOME/AWAY)
  } else {
    alarme_gaz = false;
  }

  // Journalisation périodique sur le port série UART
  // cf rapport : 8.4. Supervision en temps réel
  printf("                                      GAZ   = %d\r\n", gaz_valeur);
}

/**
 * @brief  Évalue la présence d'eau/pluie mesurée par le capteur résistif.
 *         Lit la conversion ADC stockée dans le buffer DMA (Canal ADC 8, Rank 2),
 *         la compare au seuil de pluie (SEUIL_PLUIE) pour commander la fermeture de sécurité
 *         de la fenêtre, et transmet la mesure sur l'UART.
 *         // cf rapport : 9.4. Détection de pluie avec ADC DMA multi-canaux & 9.5. Logique de décision de la fenêtre
 * @param  None
 * @return None
 */
void evaluer_pluie()
{
  // Lecture de la conversion ADC Rank 2 issue du transfert DMA
  // Pluie à sec : < 1000 ; Surface mouillée : monte immédiatement vers 4095
  // cf rapport : 9.4. Tests du capteur de pluie et seuil
  pluie_valeur = adc_valeurs[PLUIE_ADC_RANK];

  // Seuil fixé à 4000 pour éviter tout faux positif dû à l'humidité résiduelle
  if (pluie_valeur >= SEUIL_PLUIE) {
    printf("Pluie detecte !\r\n");
    pluie_detectee = true; // Entraîne le verrouillage immédiat de la fenêtre en fermeture
  } else {
    pluie_detectee = false;
  }

  // Journalisation périodique sur le port série UART
  printf("                                      PLUIE = %d\r\n", pluie_valeur);
}

/**
 * @brief  Acquiert la température via le capteur I2C TMP102 et gère la machine à états thermique.
 *         Convertit le registre brut en degrés Celsius, applique une hystérésis (FROID <= 24°C,
 *         TEMPEREE, CHAUD >= 26°C) et déclenche l'ouverture ou la fermeture automatique de la fenêtre
 *         en mode HOME sans pluie.
 *         // cf rapport : 10.10. Utilisation de la bibliothèque dans le code & 10.11. Gestion automatique de la fenêtre par la température
 * @param  None
 * @return None
 */
void evaluer_temperature()
{
  float temperature_local;

  // Lecture du registre de température du capteur TMP102 (communication I2C non bloquante en mode One-Shot)
  // cf rapport : 10.7. Lecture du registre de température & 10.8. Registre brut -> température en °C
  if (TMP102_get_temperature(&thermometre, &temperature_local))
  {
    temperature_valeur = temperature_local;
    // Formatage personnalisé du float avec précision 2 décimales sans bibliothèque math lourde
    // cf rapport : 10.8. Affichage de la température de type float
    printf("                                      TEMP  = %s°C\r\n", TMP102_temperature_to_string(temperature_valeur, 2));
  }
  else
  {
    printf("                                      TEMP  = ERREUR LECTURE\r\n");
  }

  // Machine à états de régulation thermique avec bande morte hystérésis [24°C - 26°C]
  // Évite les battements intempestifs du servomoteur autour d'une valeur seuil unique
  // Logique asymétrique : action unique lors de l'entrée dans CHAUD ou FROID, aucune action au retour en zone TEMPEREE
  // cf rapport : 10.11. Seuils et états de température & Logique de décision de la fenêtre
  switch(temperature)
  {
    case CHAUD:
      // Sortie de l'état CHAUD : la température repasse sous 26°C
      if (temperature_valeur < SEUIL_CHALEUR)
      {
        temperature = TEMPEREE; // Retour neutre, l'utilisateur ou la météo reprend la main
        break;
      }
      else
      {
        break;
      }

    case FROID:
      // Sortie de l'état FROID : la température repasse au-dessus de 24°C
      if (temperature_valeur > SEUIL_FROID)
      {
        temperature = TEMPEREE; // Retour neutre, aucune modification forcée de la fenêtre
        break;
      }
      else
      {
        break;
      }

    case TEMPEREE:
      // Transition vers CHAUD : dépassement du seuil de chaleur (>= 26°C)
      if (temperature_valeur >= SEUIL_CHALEUR && temperature != CHAUD)
      {
        temperature = CHAUD;
        // Aération automatique : ouvre la fenêtre si la maison est occupée (HOME) et s'il ne pleut pas
        if (mode == HOME && !pluie_detectee) {
          fenetre = OUVERTE;
        }
        break;
      }
      // Transition vers FROID : chute sous le seuil de froid (<= 24°C)
      else if (temperature_valeur <= SEUIL_FROID && temperature != FROID)
      {
        temperature = FROID;
        // Protection thermique : ferme la fenêtre si la maison est occupée (HOME) et s'il ne pleut pas
        if (mode == HOME && !pluie_detectee) {
          fenetre = FERMEE;
        }
        break;
      }
      else
      {
        break;
      }
  }
}

/**
 * @brief  Filtre anti-rebond logiciel non bloquant pour les boutons poussoirs (MODE/HOME et Fenêtre).
 *         Appelé périodiquement toutes les 50 ms par le Timer 5. Confirme l'appui uniquement
 *         si le signal est maintenu à l'état bas après la temporisation de rebond mécanique.
 *         // cf rapport : 6.2. Gestion de l'anti-rebond & 9.3. Bouton fenêtre et anti-rebond
 * @param  None
 * @return None
 */
void debounce_filter()
{
  // Bouton HOME (PA6 / D12) : configuré avec pull-up interne (actif à 0 V)
  // L'interruption EXTI6 a levé debouncing_bouton_home et remis TIM5 à 0 il y a 50 ms
  // cf rapport : 6.2. Détection d'appui
	if (debouncing_bouton_home && !HAL_GPIO_ReadPin(BTN_HOME_GPIO_Port, BTN_HOME_Pin)) {
		debouncing_bouton_home = false; // Réarmement du verrou anti-rebond
		bouton_home_appuye = true;      // Validation de l'impulsion d'appui pour la machine à états
	}

  // Bouton Fenêtre (PA10 / D2) : configuré avec pull-up interne (actif à 0 V)
  // Même logique d'évaluation 50 ms après le front descendant initial
  // cf rapport : 9.3. Bouton fenêtre et anti-rebond
	if (debouncing_bouton_fenetre && !HAL_GPIO_ReadPin(BTN_FENTR_GPIO_Port, BTN_FENTR_Pin)) {
		debouncing_bouton_fenetre = false;// Réarmement du verrou anti-rebond
		bouton_fenetre_appuye = true;     // Validation de l'impulsion pour le toggle de la fenêtre
	}
}

/**
 * @brief  Module de clignotement asynchrone non bloquant des voyants lumineux d'alarmes (LEDs).
 *         Évalue un compteur de tics partagé cadencé à 20 Hz par le Timer 5 pour faire clignoter
 *         la LED gaz à 10 Hz et la LED intrusion à 2 Hz par division de fréquence entière.
 *         // cf rapport : 13.1. Clignotement non bloquant par compteur partagé
 * @param  None
 * @return None
 */
void update_cycle_alarmes_leds()
{
  // Si aucune alarme n'est en cours, extinction immédiate des deux voyants
  if (!alarme_gaz && !alarme_intrusion) {
    led_alarme_intrusion.state = false;
    led_alarme_gaz.state = false;
    return;
  }

  // Gestion du clignotement de l'alarme Gaz (10 Hz souhaité)
  // Horloge de base = 20 Hz (période = 50 ms). Demi-période = 20 / (2 * 10) = 1 tic.
  // La LED bascule d'état logique à chaque tic de 50 ms (50 ms ON, 50 ms OFF => Période = 100 ms => 10 Hz)
  // cf rapport : 13.1. Clignotement non bloquant par compteur partagé
  if (alarme_gaz) {
    int demi_periode_gaz = FREQ_CYCLE_ALARME / (2 * FREQ_BLINK_ALARME_GAZ);
    if (blink_counter_alarm % demi_periode_gaz == 0) {
      led_alarme_gaz.state = !led_alarme_gaz.state;
    }
  } else {
    led_alarme_gaz.state = false;
  }

  // Gestion du clignotement de l'alarme Intrusion (2 Hz souhaité)
  // Horloge de base = 20 Hz. Demi-période = 20 / (2 * 2) = 5 tics.
  // La LED bascule d'état tous les 5 tics de 50 ms, soit 250 ms ON, 250 ms OFF => Période = 500 ms => 2 Hz
  // cf rapport : 13.1. Clignotement non bloquant par compteur partagé
  if (alarme_intrusion) {
    int demi_periode_intrusion = FREQ_CYCLE_ALARME / (2 * FREQ_BLINK_ALARME_INTRUSION);
    if (blink_counter_alarm % demi_periode_intrusion == 0) {
      led_alarme_intrusion.state = !led_alarme_intrusion.state;
    }
  } else {
    led_alarme_intrusion.state = false;
  }
}

/**
 * @brief  Module de commande acoustique non bloquante du buzzer selon les alarmes en cours.
 *         Génère les fréquences distinctes (440 Hz pour le gaz, 384 Hz pour l'intrusion) et
 *         gère l'alternance temporelle par tranches de 250 ms en cas de double alarme simultanée.
 *         // cf rapport : 13.2. Gestion du buzzer avec fréquences distinctes & 13.3. Cas simultané : alternance gaz / intrusion
 * @param  None
 * @return None
 */
void update_cycle_alarmes_buzzer()
{
  // Silencieux immédiat si aucune condition d'alerte n'est remplie
  if (!alarme_gaz && !alarme_intrusion) {
    buzzer = false;
    return;
  }

  // Cas 1 : Alarme Gaz seule
  // Note de 440 Hz (La4), hachée en synchronisation parfaite avec la LED rouge (10 Hz)
  // cf rapport : 13.2. Fréquences distinctes pour chaque alarme
  if (alarme_gaz && !alarme_intrusion) {
    frequence_buzzer(FREQ_BUZZER_ALARME_GAZ);
    buzzer = led_alarme_gaz.state; // Le buzzer retentit quand la LED s'allume
  }
  // Cas 2 : Alarme Intrusion seule
  // Note de 384 Hz (plus grave), hachée en synchronisation avec la LED jaune (2 Hz)
  // cf rapport : 13.2. Fréquences distinctes pour chaque alarme
  else if (!alarme_gaz && alarme_intrusion) {
    frequence_buzzer(FREQ_BUZZER_ALARME_INTRUSION);
    buzzer = led_alarme_intrusion.state; // Le buzzer retentit quand la LED s'allume
  }
  // Cas 3 : Alarme Gaz ET Alarme Intrusion simultanées
  // Le buzzer ne pouvant jouer qu'une note à la fois, le système alterne cycliquement toutes les 250 ms :
  // Période complète du motif = 20 Hz / 2 Hz = 10 tics (500 ms)
  // Phase 1 (tics 0 à 4 = 250 ms) : Son Intrusion continu à 384 Hz
  // Phase 2 (tics 5 à 9 = 250 ms) : Son Gaz à 440 Hz suivant le clignotement rapide de la LED rouge
  // cf rapport : 13.3. Cas simultané : alternance gaz / intrusion
  else if (alarme_gaz && alarme_intrusion) {
    int full_period_alternance = FREQ_CYCLE_ALARME / FREQ_BLINK_ALARME_INTRUSION;
    int half_period_alternance = full_period_alternance / 2;
    int phase_actuelle = blink_counter_alarm % full_period_alternance;

    if (phase_actuelle < half_period_alternance) {
      // Phase 1 (0 à 250 ms) : Signature sonore Intrusion
      frequence_buzzer(FREQ_BUZZER_ALARME_INTRUSION);
      buzzer = true; // Émission acoustique continue pendant le créneau
    } else {
      // Phase 2 (250 à 500 ms) : Signature sonore Gaz
      frequence_buzzer(FREQ_BUZZER_ALARME_GAZ);
      buzzer = led_alarme_gaz.state; // Modulation rapide synchronisée sur la LED gaz
    }
  }
}

/**
 * @brief  Fonction coordinatrice globale pour l'animation cyclique des alarmes.
 *         Incrémente le compteur de base de temps partagé (cadencé à 20 Hz par le Timer 5)
 *         et appelle les gestionnaires visuel (LEDs) et auditif (Buzzer).
 *         // cf rapport : 13. — Bonus — Gestion globale des alarmes
 * @param  None
 * @return None
 */
void update_cycle_alarmes()
{
  // Réinitialisation du compteur lors du retour au calme pour démarrer le prochain cycle en phase 0
  if (!alarme_gaz && !alarme_intrusion) {
    blink_counter_alarm = 0;
  } else {
    blink_counter_alarm++;
  }

  // Actualisation des motifs lumineux et sonores
  update_cycle_alarmes_leds();
  update_cycle_alarmes_buzzer();
}

/* USER CODE END 0 */

/**
  * @brief  Point d'entrée principal de l'application embarquée (Maison Intelligente STM32).
  *         Initialise le matériel (horloges, GPIO, timers, ADC DMA, USART2, I2C3),
  *         configure les bibliothèques et modules externes (TMP102, LCD, LEDs WS2812B),
  *         émet la bannière de configuration initiale sur la liaison série USART2,
  *         puis exécute la super-boucle coopérative infinie non bloquante.
  *         // cf rapport : 3.3. Organisation logicielle, 6.3. Machine à états HOME / AWAY, 9.5. Logique de décision de la fenêtre
  * @param  None
  * @retval int Code de sortie (inatteignable en environnement embarqué nu).
  */
int main(void)
{

  /* MCU Configuration--------------------------------------------------------*/

  /* Reset of all peripherals, Initializes the Flash interface and the Systick. */
  HAL_Init();

  /* Configure the system clock */
  SystemClock_Config();

  /* Initialize all configured peripherals */
  MX_GPIO_Init();
  MX_DMA_Init();
  MX_TIM2_Init();
  MX_TIM3_Init();
  MX_TIM5_Init();
  MX_ADC1_Init();
  MX_USART2_UART_Init();
  MX_TIM1_Init();
  MX_I2C3_Init();
  MX_TIM4_Init();
  /* USER CODE BEGIN 2 */

  // Démarrage des bases temporelles en interruption :
  // - TIMER_DEBOUNCE (TIM5) : cadence l'anti-rebond et les alarmes à 20 Hz (période = 50 ms)
  //   cf rapport : 6.2. Prescaler et période du Timer 5
  HAL_TIM_Base_Start_IT(TIMER_DEBOUNCE);

  // - TIMER_CAPTEURS (TIM2) : cadence l'échantillonnage à 0.5 Hz (période = 2 s)
  //   Émet automatiquement un signal TRGO matériel à chaque update pour déclencher l'ADC
  //   cf rapport : 5.1. Configuration du Timer & 7.1. Déclenchement de l'ADC par le Timer 2
  HAL_TIM_Base_Start_IT(TIMER_CAPTEURS);

  // Démarrage des canaux PWM pour les actionneurs :
  // - TIMER_BUZZER (TIM3 CH2) : génération sonore sur buzzer passif (fréquence variable)
  //   cf rapport : 13.2. Gestion du buzzer avec fréquences distinctes
  HAL_TIM_PWM_Start(TIMER_BUZZER, CANAL_BUZZER);

  // - TIMER_SERVO (TIM1 CH2) : PWM 50 Hz pour pilotage angulaire de la fenêtre
  //   cf rapport : 9.1. Configuration du Timer 1 dans CubeMX
  HAL_TIM_PWM_Start(TIMER_SERVO, CANAL_SERVO);

  // Démarrage de la chaîne d'acquisition analogique multi-canaux (Gaz + Pluie)
  // Fonctionne en mode Scan circulaire avec DMA2 Stream0 sans surcharge processeur
  // cf rapport : 9.4. Configuration DMA
  HAL_ADC_Start_DMA(ADC_CAPTEURS, (uint32_t*)adc_valeurs, NBR_CAPTEURS_ADC);

  // Initialisation des bibliothèques matérielles et périphériques déportés
  // cf rapport : 10.6 (TMP102), 11.2 (LCD I2C), 12.2 (WS2812B DMA)
  initialiser_thermometre();
  initialiser_ecran();
  initialiser_bande_led();

  // Émission de la bannière d'accueil et récapitulatif des paramètres système sur l'UART
  // cf rapport : 8.3. Message de bienvenue au démarrage
  printf("\r\n--- Demarrage Systeme STM32 ---\r\n\n");
  printf("Seuil gaz configure: %d\r\n", SEUIL_GAZ);
  printf("Frequence clignotement alarme gaz: %d Hz\r\n", FREQ_BLINK_ALARME_GAZ);
  printf("Frequence clignotement alarme intrusion: %d Hz\r\n", FREQ_BLINK_ALARME_INTRUSION);
  printf("Periode echantillonnage capteurs: %d s\r\n", (int)(1/FREQ_CYCLE_CAPTEURS));
  printf("Periode debounce bouton: %d ms\r\n", (int)(1000/FREQ_CYCLE_DEBOUNCE));
  printf("\r\n");

  /* USER CODE END 2 */

  /* Infinite loop */
  while (1)
  {

    /* USER CODE BEGIN 3 */

    // ==========================================================================
    // Machine à états principale : Modes de surveillance HOME et AWAY
    // cf rapport : 6.3. Machine à états HOME / AWAY & 6.5. Comportement selon le mode
    // ==========================================================================
    switch(mode)
    {
      case HOME:
      {
        // --- Événement de transition HOME -> AWAY ---
        // L'utilisateur appuie sur le bouton HOME pour quitter la maison
        if (bouton_home_appuye)
        {
          bouton_home_appuye = false;
          mode = AWAY;
          fenetre = FERMEE; // Sécurité départ : fermeture systématique de la fenêtre
          printf("Je sors de la maison\r\n");
          afficher_mode_ecran(); // Actualisation immédiate du libellé LCD
        }
        else
        {
          // --- Actions continues en mode HOME (Présence normale) ---
          // Réinitialisation permanente des détections intrusion
          presence_detectee = false;
          alarme_intrusion = false;

          // Priorité 1 : Sécurité météo - La pluie force la fermeture absolue
          // cf rapport : 9.5. Logique de décision de la fenêtre
          if (pluie_detectee)
          {
            fenetre = FERMEE;
            bouton_fenetre_appuye = false; // Ignore tout appui utilisateur pendant l'intempérie
          }
          else
          {
            // Priorité 2 : Commande manuelle de la fenêtre par bouton poussoir
            // cf rapport : 9.3. Comportement et priorités selon le mode
            if (bouton_fenetre_appuye)
            {
              bouton_fenetre_appuye = false;
              switch(fenetre)
              {
                case OUVERTE:
                {
                  fenetre = FERMEE;
                  printf("Je ferme la fenetre\r\n");
                  break;
                }
                case FERMEE:
                {
                  fenetre = OUVERTE;
                  printf("J'ouvre la fenetre\r\n");
                  break;
                }
                case INIT:
                  // État transitoire initial pris en charge à l'appel de commande_fenetre()
                  break;
              }
            }
          }
        }
        break;
      }

      case AWAY:
      {
        // --- Événement de transition AWAY -> HOME ---
        // L'utilisateur appuie sur le bouton HOME à son retour
        if (bouton_home_appuye)
        {
          bouton_home_appuye = false;
          mode = HOME;
          printf("Je rentre à la maison\r\n");
          afficher_mode_ecran(); // Actualisation immédiate du libellé LCD
        }
        else
        {
          // --- Actions continues en mode AWAY (Surveillance active) ---
          // Verrouillage de la commande manuelle : les appuis fenêtre sont ignorés
          // cf rapport : 9.3. Comportement et priorités selon le mode
          bouton_fenetre_appuye = false;

          // Surveillance active du détecteur de mouvement PIR
          // cf rapport : 6.4. Capteur PIR et alarme intrusion
          if (presence_detectee)
          {
            alarme_intrusion = true;    // Armement et déclenchement de l'alarme intrusion
            presence_detectee = false;  // Acquittement du drapeau d'interruption
            printf("Intrusion detectee !\r\n");
          }
        }
        break;
      }
    }

    // ==========================================================================
    // Traitement des tâches périodiques non bloquantes cadencées par interruptions
    // cf rapport : 3.3. Boucle principale et gestion des interruptions
    // ==========================================================================

    // Tâche 1 : Base de temps 50 ms (TIM5) - Anti-rebond, modulation alarmes, LEDs WS2812B
    // cf rapport : 6.2 (Anti-rebond), 12.3 (Bande LED), 13.1 (Alarmes)
    if (timer_debounce_flag) {
      timer_debounce_flag = false;
      debounce_filter();       // Évaluation de la stabilité des boutons (50 ms après front)
      update_cycle_alarmes();  // Cadencement du clignotement des LEDs et alternance buzzer
      update_bande_led();      // Mise à jour de la trame RGB et émission DMA
    }

    // Tâche 2 : Base de temps 2 s (TIM2) - Déclenchement One-Shot capteur température
    // L'ADC est simultanément déclenché par le signal matériel TRGO du TIM2
    // cf rapport : 5.2. Clignotement de la LED témoin & 10.9. Déclencher une mesure One-Shot
    if (timer_capteurs_flag) {
      timer_capteurs_flag = false;
      led_capteurs.state = !led_capteurs.state; // Clignotement témoin d'activité (LED bleue)
      if (!TMP102_start_measure(&thermometre)) {
        printf("Erreur lors du demarrage de la mesure TMP102 en mode One-Shot\r\n");
      }
    }

    // Tâche 3 : Fin de conversion ADC multi-canaux notifiée par le DMA (Gaz + Pluie)
    // cf rapport : 9.4. Lecture et évaluation des capteurs
    if (fin_mesure_ADC_flag) {
      fin_mesure_ADC_flag = false;
      evaluer_pluie(); // Vérification seuil d'eau (Rank 2)
      evaluer_gaz();   // Vérification seuil de gaz (Rank 1)
    }

    // Tâche 4 : Fin de conversion du thermomètre TMP102 prête (polling non bloquant ~26 ms)
    // La température étant la dernière mesure disponible, l'afficheur LCD est rafraîchi ici
    // cf rapport : 10.9. Attendre la fin de la mesure & 11.3. Synchronisation avec la dernière mesure prête
    if (TMP102_is_measure_ready(&thermometre)) {
      evaluer_temperature();    // Analyse de la température et gestion thermique fenêtre
      printf("\r\n");
      afficher_capteurs_ecran(); // Rafraîchissement global synchronisé de l'écran LCD
    }

    // ==========================================================================
    // Pilotage des actionneurs physiques (fonctions non bloquantes)
    // ==========================================================================
    commande_buzzer();   // Actualisation de l'état ON/OFF du signal PWM sonore
    commande_led();      // Actualisation des broches GPIO des LEDs du shield
    commande_fenetre();  // Actualisation de la position PWM du servomoteur sur changement d'état
  }
  /* USER CODE END 3 */
}

/**
  * @brief  Configure l'arbre d'horloge système du microcontrôleur STM32F411RE.
  *         Active l'oscillateur externe HSE (quartz 8 MHz), configure la PLL principale
  *         pour générer une horloge système SYSCLK de 100 MHz, fixe le bus AHB à 100 MHz,
  *         le bus APB1 à 50 MHz (timers APB1 à 100 MHz) et le bus APB2 à 100 MHz.
  *         // cf rapport : 3.2. Arbre d'horloge et fréquences
  * @param  None
  * @retval None
  */
void SystemClock_Config(void)
{
  RCC_OscInitTypeDef RCC_OscInitStruct = {0};
  RCC_ClkInitTypeDef RCC_ClkInitStruct = {0};

  /** Configure the main internal regulator output voltage
  */
  __HAL_RCC_PWR_CLK_ENABLE();
  __HAL_PWR_VOLTAGESCALING_CONFIG(PWR_REGULATOR_VOLTAGE_SCALE1);

  /** Initialisation de la source HSE et de la PLL :
   *  f_VCO = f_HSE * (PLLN / PLLM) = 8 MHz * (100 / 4) = 200 MHz
   *  f_SYSCLK = f_VCO / PLLP = 200 MHz / 2 = 100 MHz
   *  cf rapport : 3.2. Arbre d'horloge et fréquences
   */
  RCC_OscInitStruct.OscillatorType = RCC_OSCILLATORTYPE_HSE;
  RCC_OscInitStruct.HSEState = RCC_HSE_ON;
  RCC_OscInitStruct.PLL.PLLState = RCC_PLL_ON;
  RCC_OscInitStruct.PLL.PLLSource = RCC_PLLSOURCE_HSE;
  RCC_OscInitStruct.PLL.PLLM = 4;
  RCC_OscInitStruct.PLL.PLLN = 100;
  RCC_OscInitStruct.PLL.PLLP = RCC_PLLP_DIV2;
  RCC_OscInitStruct.PLL.PLLQ = 4;
  if (HAL_RCC_OscConfig(&RCC_OscInitStruct) != HAL_OK)
  {
    Error_Handler();
  }

  /** Configuration des diviseurs de bus et de la latence Flash :
   *  HCLK = SYSCLK / 1 = 100 MHz
   *  APB1 (PCLK1) = HCLK / 2 = 50 MHz (horloge des timers APB1 x2 = 100 MHz)
   *  APB2 (PCLK2) = HCLK / 1 = 100 MHz (horloge des timers APB2 x1 = 100 MHz)
   *  Flash Latency = 3 WS (Wait States) pour fonctionnement stable à 100 MHz sous 3.3V
   *  cf rapport : 3.2. Arbre d'horloge et fréquences
   */
  RCC_ClkInitStruct.ClockType = RCC_CLOCKTYPE_HCLK|RCC_CLOCKTYPE_SYSCLK
                              |RCC_CLOCKTYPE_PCLK1|RCC_CLOCKTYPE_PCLK2;
  RCC_ClkInitStruct.SYSCLKSource = RCC_SYSCLKSOURCE_PLLCLK;
  RCC_ClkInitStruct.AHBCLKDivider = RCC_SYSCLK_DIV1;
  RCC_ClkInitStruct.APB1CLKDivider = RCC_HCLK_DIV2;
  RCC_ClkInitStruct.APB2CLKDivider = RCC_HCLK_DIV1;

  if (HAL_RCC_ClockConfig(&RCC_ClkInitStruct, FLASH_LATENCY_3) != HAL_OK)
  {
    Error_Handler();
  }
}

/* USER CODE BEGIN 4 */

/**
 * @brief  Redirige le flux de sortie standard C (utilisé par printf) vers l'USART2.
 *         Permet l'envoi caractère par caractère vers l'interface ST-LINK branchée au PC.
 *         // cf rapport : 8.2. Redirection de printf vers l'UART
 * @param  ch Caractère ASCII à transmettre.
 * @return int Caractère émis ou EOF en cas d'erreur.
 */
int __io_putchar(int ch)
{
    // Émission synchrone bloquante de 1 octet sur USART2 avec timeout maximal
    // cf rapport : 8.2. Redirection de printf vers l'UART
    HAL_UART_Transmit(&huart2, (uint8_t *)&ch, 1, HAL_MAX_DELAY);
    return ch;
}

/**
 * @brief  Routine de rappel (callback) pour les interruptions externes sur broches GPIO (EXTI).
 *         Capture les événements asynchrones en temps réel : détection de mouvement PIR (EXTI 7)
 *         et front descendant sur les boutons HOME (EXTI 6) et Fenêtre (EXTI 10).
 *         Amorce le délai anti-rebond matériel sans bloquer l'exécution.
 *         // cf rapport : 6.2. Routine d'interruption du GPIO et du Timer, 6.4. Capteur PIR, 9.3. Bouton fenêtre et anti-rebond
 * @param  GPIO_Pin Numéro du pin GPIO ayant déclenché l'interruption (ex: PIR_MVMT_Pin, BTN_HOME_Pin, BTN_FENTR_Pin).
 * @return None
 */
void HAL_GPIO_EXTI_Callback(uint16_t GPIO_Pin)
{
  // 1. Détection de mouvement par le capteur PIR (broche PC7 / EXTI 7)
  // Signal actif sur front montant avec pulldown interne
  // cf rapport : 6.4. Lecture du capteur PIR
  if (GPIO_Pin == PIR_MVMT_Pin)
  {
    presence_detectee = true;
  }

  // 2. Appui sur le bouton HOME (broche PA6 / EXTI 6)
  // Déclenché sur front descendant (pull-up interne, passage de 1 à 0)
  // Amorce le délai anti-rebond de 50 ms en réinitialisant le compteur de TIM5 à zéro
  // cf rapport : 6.2. Routine d'interruption du GPIO et du Timer
  if (GPIO_Pin == BTN_HOME_Pin)
  {
    if (!debouncing_bouton_home) {
      debouncing_bouton_home = true;
      __HAL_TIM_SET_COUNTER(TIMER_DEBOUNCE, 0); // Réinitialise le timer pour mesurer 50 ms pile
    }
  }

  // 3. Appui sur le bouton FENÊTRE (broche PA10 / EXTI 10)
  // Déclenché sur front descendant (pull-up interne)
  // Même mécanisme anti-rebond que le bouton HOME
  // cf rapport : 9.3. Bouton fenêtre et anti-rebond
  if (GPIO_Pin == BTN_FENTR_Pin)
  {
    if (!debouncing_bouton_fenetre) {
      debouncing_bouton_fenetre = true;
      __HAL_TIM_SET_COUNTER(TIMER_DEBOUNCE, 0); // Réinitialise le timer pour mesurer 50 ms pile
    }
  }
}

/**
 * @brief  Routine de rappel déclenchée à l'expiration de la période d'un timer (Update Event).
 *         Lève les drapeaux logiciels asynchrones correspondants afin de déporter les traitements
 *         dans la boucle principale (règle d'or des ISR non bloquantes).
 *         // cf rapport : 3.3. Boucle principale et gestion des interruptions, 5.1. Configuration du Timer, 6.2. Prescaler du Timer 5
 * @param  htim Pointeur vers la structure du timer ayant généré l'interruption.
 * @return None
 */
void HAL_TIM_PeriodElapsedCallback(TIM_HandleTypeDef *htim)
{
  // Timer d'anti-rebond et de cadencement des alarmes (TIM5, base 20 Hz / 50 ms)
  // cf rapport : 6.2. Routine d'interruption du GPIO et du Timer & 13.1. Clignotement non bloquant
  if (htim == TIMER_DEBOUNCE)
  {
    timer_debounce_flag = true;
  }

  // Timer d'échantillonnage principal (TIM2, base 0.5 Hz / 2 s)
  // Déclenche également de manière matérielle l'ADC via TRGO
  // cf rapport : 5.2. Clignotement de la LED témoin & 7.1. Déclenchement de l'ADC par le Timer 2
  if (htim == TIMER_CAPTEURS)
  {
    timer_capteurs_flag = true;
  }
}

/**
 * @brief  Routine de rappel appelée par le contrôleur DMA à la fin du cycle de conversion ADC.
 *         Confirme que les mesures des canaux Gaz (Rank 1) et Pluie (Rank 2) ont été transférées
 *         dans le buffer mémoire sans retard de cycle.
 *         // cf rapport : 9.4. Détection de pluie avec ADC DMA multi-canaux (Interruptions ADC et DMA activées)
 * @param  hadc Pointeur vers la structure du convertisseur ADC (ADC_CAPTEURS / hadc1).
 * @return None
 */
void HAL_ADC_ConvCpltCallback(ADC_HandleTypeDef* hadc)
{
    if (hadc == ADC_CAPTEURS)
    {
        // Lève le drapeau pour traitement immédiat des grandeurs fraîches dans le main
        // Évite le bug de lecture de conversion n-1 identifié au Scénario 3
        // cf rapport : 7.2. Problème rencontré & 9.4. Callback de fin de conversion
        fin_mesure_ADC_flag = true;
    }
}
/* USER CODE END 4 */

/**
  * @brief  Gestionnaire de panne critique de la couche d'abstraction matérielle (HAL).
  *         Désactive toutes les interruptions globales pour isoler le processeur
  *         et fige l'exécution dans une boucle infinie de sécurité.
  * @param  None
  * @retval None
  */
void Error_Handler(void)
{
  __disable_irq();
  while (1)
  {
  }
}
